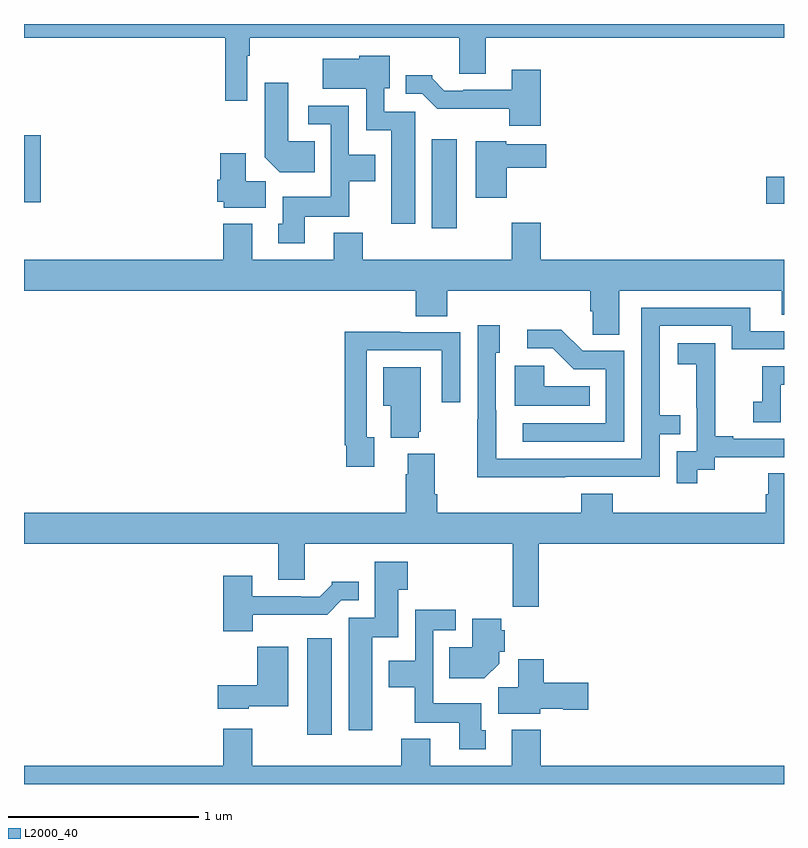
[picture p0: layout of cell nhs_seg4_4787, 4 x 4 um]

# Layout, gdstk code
import gdstk
lib = gdstk.Library(unit=1e-6, precision=1e-09)
def R(c, l, rs):  # rectangles x0, y0, x1, y1
    for r in rs: c.add(gdstk.rectangle(r[:2], r[2:], *l))
def P(c, l, *ps):  # polygons
    for p in ps: c.add(gdstk.Polygon(p, *l))
L2000_40 = (2000, 40)

nhs_seg4_4787 = lib.new_cell('nhs_seg4_4787')
R(nhs_seg4_4787, L2000_40, [(370.49,785.16,370.621,785.668), (371.147,787.824,371.278,788.293), (372.906,787.954,373,788.096), (369,787.961,369.089,788.314)])
P(nhs_seg4_4787, L2000_40, [(370.176,788.732),(370.189,788.732),(370.189,788.828),(371.291,788.828),(371.291,788.638),(371.431,788.638),(371.431,788.828),(373,788.828),(373,788.9),(369,788.9),(369,788.828),(370.06,788.828),(370.06,788.496),(370.176,788.496)],
  [(371.059,788.439),(370.896,788.439),(370.896,788.562),(370.924,788.562),(370.924,788.734),(370.764,788.734),(370.764,788.716),(370.572,788.716),(370.572,788.558),(370.8,788.558),(370.8,788.342),(370.934,788.342),(370.934,787.848),(371.059,787.848)],
  [(371.72,788.659),(371.567,788.659),(371.567,788.553),(371.311,788.553),(371.311,788.55),(371.212,788.55),(371.148,788.614),(371.148,788.629),(371.009,788.629),(371.009,788.532),(371.097,788.532),(371.176,788.454),(371.555,788.454),(371.555,788.364),(371.72,788.364)],
  [(370.529,788.284),(370.39,788.284),(370.39,788.59),(370.268,788.59),(370.268,788.198),(370.346,788.12),(370.529,788.12)],
  [(370.477,787.886),(370.713,787.886),(370.713,788.072),(370.849,788.072),(370.849,788.212),(370.71,788.212),(370.71,788.469),(370.497,788.469),(370.497,788.373),(370.614,788.373),(370.614,787.99),(370.361,787.99),(370.361,787.848),(370.337,787.848),(370.337,787.746),(370.477,787.746)],
  [(371.542,788.144),(371.749,788.144),(371.749,788.266),(371.538,788.266),(371.538,788.284),(371.378,788.284),(371.378,787.986),(371.542,787.986)],
  [(370.273,788.072),(370.168,788.072),(370.168,788.221),(370.034,788.221),(370.034,788.079),(370.016,788.079),(370.016,787.965),(370.05,787.965),(370.05,787.934),(370.273,787.934)],
  [(372.133,787.496),(372.989,787.496),(372.989,787.369),(373,787.369),(373,787.66),(371.72,787.66),(371.72,787.855),(371.567,787.855),(371.567,787.66),(370.784,787.66),(370.784,787.801),(370.631,787.801),(370.631,787.66),(370.201,787.66),(370.201,787.849),(370.049,787.849),(370.049,787.66),(369,787.66),(369,787.496),(371.063,787.496),(371.063,787.363),(371.228,787.363),(371.228,787.496),(371.981,787.496),(371.981,787.387),(371.994,787.387),(371.994,787.264),(372.133,787.264)],
  [(371.849,786.516),(372.345,786.516),(372.345,786.741),(372.455,786.741),(372.455,786.842),(372.345,786.842),(372.345,787.311),(372.726,787.311),(372.726,787.188),(373,787.188),(373,787.284),(372.823,787.284),(372.823,787.407),(372.249,787.407),(372.249,786.612),(371.485,786.612),(371.485,786.866),(371.484,786.866),(371.484,787.17),(371.503,787.17),(371.503,787.315),(371.388,787.315),(371.388,786.821),(371.386,786.821),(371.386,786.515),(371.849,786.515)],
  [(372.159,787.179),(371.94,787.179),(371.827,787.292),(371.649,787.292),(371.649,787.194),(371.783,787.194),(371.894,787.083),(372.063,787.083),(372.063,786.798),(371.625,786.798),(371.625,786.702),(372.159,786.702)],
  [(370.843,786.726),(370.803,786.726),(370.803,787.182),(371.199,787.182),(371.199,786.909),(371.295,786.909),(371.295,787.278),(370.979,787.278),(370.979,787.28),(370.687,787.28),(370.687,786.682),(370.695,786.682),(370.695,786.57),(370.843,786.57)],
  [(372.544,786.553),(372.636,786.553),(372.636,786.621),(373,786.621),(373,786.717),(372.733,786.717),(372.733,786.73),(372.638,786.73),(372.638,787.013),(372.639,787.013),(372.639,787.219),(372.441,787.219),(372.441,787.109),(372.539,787.109),(372.539,786.881),(372.54,786.881),(372.54,786.651),(372.435,786.651),(372.435,786.483),(372.544,786.483)],
  [(371.978,786.994),(371.739,786.994),(371.739,787.102),(371.582,787.102),(371.582,786.89),(371.978,786.89)],
  [(372.984,787.002),(373,787.002),(373,787.098),(372.886,787.098),(372.886,786.913),(372.837,786.913),(372.837,786.804),(372.984,786.804)],
  [(371.078,786.753),(371.089,786.753),(371.089,787.093),(370.892,787.093),(370.892,786.89),(370.931,786.89),(370.931,786.722),(371.078,786.722)],
  [(371.708,786.164),(373,786.164),(373,786.536),(372.917,786.536),(372.917,786.426),(372.905,786.426),(372.905,786.328),(372.098,786.328),(372.098,786.427),(371.933,786.427),(371.933,786.328),(371.174,786.328),(371.174,786.424),(371.161,786.424),(371.161,786.637),(371.021,786.637),(371.021,786.53),(371.009,786.53),(371.009,786.328),(369,786.328),(369,786.164),(370.337,786.164),(370.337,785.974),(370.477,785.974),(370.477,786.164),(371.572,786.164),(371.572,785.832),(371.708,785.832)],
  [(370.834,785.672),(370.969,785.672),(370.969,785.923),(371.021,785.923),(371.021,786.07),(370.847,786.07),(370.847,785.775),(370.709,785.775),(370.709,785.184),(370.834,785.184)],
  [(370.204,785.792),(370.595,785.792),(370.671,785.868),(370.762,785.868),(370.762,785.965),(370.62,785.965),(370.62,785.95),(370.556,785.886),(370.457,785.886),(370.457,785.889),(370.201,785.889),(370.201,785.995),(370.049,785.995),(370.049,785.705),(370.204,785.705)],
  [(371.431,785.184),(371.407,785.184),(371.407,785.326),(371.154,785.326),(371.154,785.709),(371.272,785.709),(371.272,785.818),(371.058,785.818),(371.058,785.548),(370.919,785.548),(370.919,785.408),(371.056,785.408),(371.056,785.222),(371.291,785.222),(371.291,785.082),(371.431,785.082)],
  [(371.5,785.534),(371.5,785.595),(371.529,785.595),(371.529,785.709),(371.513,785.709),(371.513,785.77),(371.36,785.77),(371.36,785.62),(371.239,785.62),(371.239,785.456),(371.422,785.456)],
  [(370.182,785.309),(370.39,785.309),(370.39,785.623),(370.228,785.623),(370.228,785.419),(370.02,785.419),(370.02,785.297),(370.182,785.297)],
  [(371.718,785.297),(371.838,785.297),(371.838,785.29),(371.971,785.29),(371.971,785.432),(371.735,785.432),(371.735,785.557),(371.601,785.557),(371.601,785.408),(371.495,785.408),(371.495,785.27),(371.718,785.27)],
  [(373,784.996),(371.72,784.996),(371.72,785.185),(371.567,785.185),(371.567,784.996),(371.137,784.996),(371.137,785.137),(370.985,785.137),(370.985,784.996),(370.201,784.996),(370.201,785.191),(370.049,785.191),(370.049,784.996),(369,784.996),(369,784.9),(373,784.9)])

lib.write_gds('nhs_seg4_4787.gds')
